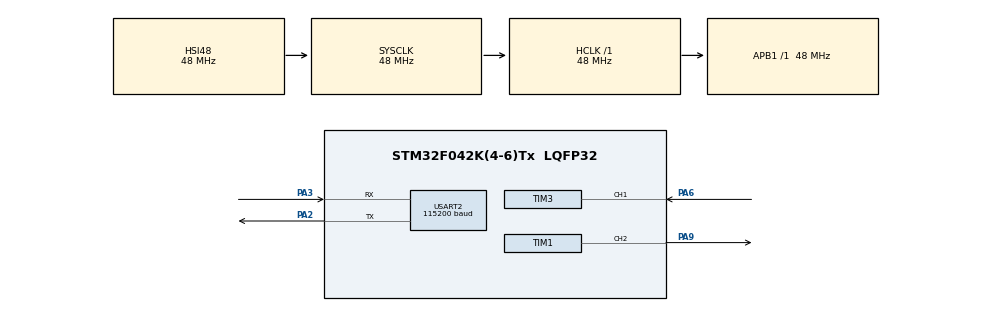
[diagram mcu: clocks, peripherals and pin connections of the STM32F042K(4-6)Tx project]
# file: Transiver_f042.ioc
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Mcu.Family=STM32F0
Mcu.Name=STM32F042K(4-6)Tx
Mcu.Package=LQFP32
NVIC.TIM3_IRQn=true\:0\:0\:false\:false\:true\:true\:true
PA2.Mode=Asynchronous
PA2.Signal=USART2_TX
PA3.Mode=Asynchronous
PA3.Signal=USART2_RX
PA6.Signal=S_TIM3_CH1
PA9.Signal=S_TIM1_CH2
ProjectManager.HeapSize=0x200
ProjectManager.StackSize=0x400
ProjectManager.TargetToolchain=STM32CubeIDE
RCC.AHBFreq_Value=48000000
RCC.APB1Freq_Value=48000000
RCC.APB1TimFreq_Value=48000000
RCC.HCLKFreq_Value=48000000
RCC.SYSCLKFreq_VALUE=48000000
RCC.SYSCLKSource=RCC_SYSCLKSOURCE_HSI48
SH.S_TIM1_CH2.0=TIM1_CH2,PWM Generation2 CH2
SH.S_TIM3_CH1.0=TIM3_CH1,Input_Capture1_from_TI1
TIM1.Channel-PWM\ Generation2\ CH2=TIM_CHANNEL_2
TIM1.Prescaler=1-1
TIM2.Prescaler=6-1
TIM3.Channel-Input_Capture1_from_TI1=TIM_CHANNEL_1
TIM3.Channel-Input_Capture2_from_TI1_63=TIM_CHANNEL_2
TIM3.ICPolarity_CH1=TIM_INPUTCHANNELPOLARITY_FALLING
TIM3.ICPolarity_CH2=TIM_INPUTCHANNELPOLARITY_RISING
TIM3.Prescaler=1-1
USART2.BaudRate=115200
USART2.VirtualMode-Asynchronous=VM_ASYNC
VP_TIM1_VS_ClockSourceINT.Mode=Internal
VP_TIM2_VS_ClockSourceINT.Mode=Internal
VP_TIM3_VS_ClockSourceINT.Mode=Internal
VP_TIM3_VS_indirect_ch1.Mode=Input_Capture2_from_TI1_63
board=custom

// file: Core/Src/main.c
/* USER CODE BEGIN Header */
/**
 ******************************************************************************
 * @file           : main.c
 * @brief          : Main program body
 ******************************************************************************
 * @attention
 *
 * Copyright (c) 2022 STMicroelectronics.
 * All rights reserved.
 *
 * This software is licensed under terms that can be found in the LICENSE file
 * in the root directory of this software component.
 * If no LICENSE file comes with this software, it is provided AS-IS.
 *
 ******************************************************************************
 */
/* USER CODE END Header */
#include "main.h"

/* USER CODE BEGIN Includes */
#include <string.h>
#include <stdlib.h>

/* USER CODE END Includes */

/* USER CODE BEGIN PD */
#define T 5000
#define COUNTER 5000
#define SYN 22
#define ACK 6

/* USER CODE END PD */

TIM_HandleTypeDef htim1;
TIM_HandleTypeDef htim2;
TIM_HandleTypeDef htim3;

UART_HandleTypeDef huart2;

void SystemClock_Config(void);
static void MX_GPIO_Init(void);
static void MX_TIM1_Init(void);
static void MX_TIM2_Init(void);
static void MX_USART2_UART_Init(void);
static void MX_TIM3_Init(void);
/* USER CODE BEGIN PFP */
/*
 * function use to print const strings in UART2
 * make print more coder friendly)
 *
 * @brief  pointer for string
 */
void output(char *string) {
	HAL_UART_Transmit(&huart2, (uint8_t*) string, strlen(string), 100);
}

// This function provides delay (in 1 / Timer_freq nanoseconds)
// delay must be < 65535
void delay(int delay) {
	if (delay > 0xFFFF)
		delay = 0xFFFF;
	(&htim2)->Instance->CNT = 0;
	while ((&htim2)->Instance->CNT < delay)
		;
}

//<------------- TRANSIVER CODE ----------------->

void togglepin(uint8_t value);
void delay(int delay);

/*
 * transfer char to bin code and send it to PWM channel
 *
 * @brief letter which need to transmit
 */
void send_value_pwm(char ch) {
	for (char div = 128; div > 0; div /= 2) {
		if (ch >= div) {    // 1
			ch -= div;
			togglepin(1);
//			output("1");
		} else {
			togglepin(0);
//			output("0");
		}
	}
	delay(T);
}

/*
 * change PWM channel state to transmit 0 or 1 bit value
 *
 * @brief 0 or 1 bit value
 */
void togglepin(uint8_t value) {
	//	turning off pin
	TIM1->CCR2 = 0;
	TIM1->CNT = COUNTER;
	if (value == 1) {
		delay(T * 0.8);
		//	turning on pin
		TIM1->CCR2 = COUNTER + 1;
		TIM1->CNT = COUNTER;
		delay(T * 0.2);
	} else if (value == 0) {
		delay(T * 0.2);
		//	turning on pin
		TIM1->CCR2 = COUNTER + 1;
		TIM1->CNT = COUNTER;
		delay(T * 0.8);
	} else
		return;
}

//<-------------------- END TRANSIVER CODE ----------->

//<-------------------- RECIVER CODE ----------------->
// variables use in triple handshake to catch SYN, ACK from receiver
int byte[2] = { 0 };
int byte_count = 0;

// use in CaptureCallback, PeriodElepsed and other functions
// variables use in receiver code
int callback_count = 0;
int bit_count = 0;
int *bit;

/*
 * SYN -->
 * SYN, ACK <--
 * ACK -->
 *
 * function is made triple handshake work
 * delays need to slow down handshake to make it readable for user
 *
 * firstly stop timers only then turn on overs
 * it is made half-duplex work normally
 *
 * waiting answуrs from receiver in for circle
 */
void connect(int *connection) {
	send_value_pwm(SYN);
	output("First transmission\r\n");
	delay(10 * T); // delays must be same with receiver

	// Turning off transmitter timers
	HAL_TIM_PWM_Stop(&htim1, TIM_CHANNEL_2);

	// Turning on receive timers
	TIM3->ARR = T;
	HAL_TIM_IC_Start_IT(&htim3, TIM_CHANNEL_1);
	HAL_TIM_IC_Start_IT(&htim3, TIM_CHANNEL_2);
	HAL_TIM_Base_Start_IT(&htim3);

	delay(10 * T);

	// wait time for 2 byte -> 20 T
	// to take SYN and ACK from receiver
	for (int i = 0; byte_count < 2 && i < 20; i++) {
		delay(T);
	}

//	char buf[128] = { 0 };
//	sprintf(buf, "%d - byte\r\n", byte_count);
//	HAL_UART_Transmit(&huart2, buf, strlen(buf), -1);

	// Turning off reciver timers
	HAL_TIM_IC_Stop_IT(&htim3, TIM_CHANNEL_1);
	HAL_TIM_IC_Stop_IT(&htim3, TIM_CHANNEL_2);
	HAL_TIM_Base_Stop_IT(&htim3);
	delay(10 * T);

	// Turning on transive timers
	TIM1->CCR2 = COUNTER + 1;
	TIM1->CNT = COUNTER;
	HAL_TIM_PWM_Start(&htim1, TIM_CHANNEL_2);
	delay(10 * T);

	if (byte[0] == SYN && byte[1] == ACK) {
		*connection = 1;
		output("Device connected\r\n");
		send_value_pwm(ACK);
	} else {
		output("Connection was failed\r\n");
		*connection = 0;
	}
	byte_count = 0;
	byte[0] = byte[1] = 0;
	delay(10 * T);
}

/*
 * catch changing state of PWM channel
 * check period of signal to avoid interferences (should write else)
 * write rising times in bit array
 */
void HAL_TIM_IC_CaptureCallback(TIM_HandleTypeDef *htim) {
	if (htim == &htim3) {
		int falling_edge = 0;
		int rising_edge = 0;
//		char buf_1[128] = { 0 };

		callback_count += 1;

		falling_edge = HAL_TIM_ReadCapturedValue(&htim3, TIM_CHANNEL_1);
		rising_edge = HAL_TIM_ReadCapturedValue(&htim3, TIM_CHANNEL_2);
//		sprintf(buf_1, "r - %d f - %d c - %d\r\n", rising_edge, falling_edge, callback_count);
//		HAL_UART_Transmit(&huart2, &buf_1, strlen(buf_1), -1);
		if (callback_count % 2 != 0 && callback_count != 1) {
			int period = rising_edge + falling_edge;
			if (period < T * 1.2 && period > T * 0.8) { // 10% gap for period
//				char buf_2[128] = { 0 };
//				sprintf(buf_2, "r - %d\r\n", rising_edge);
//				HAL_UART_Transmit(&huart2, &buf_2, strlen(buf_2), -1);
				bit[bit_count] = rising_edge;
			}
			bit_count += 1;
		}
		TIM3->CNT = 0;
		TIM2->CNT = 0;
	}
}

void read_pwm_information(int *bit);

/*
 * function catch IDEL signal
 * IDEL signal then there is one period without capture callback
 * Use for reading last bit in signal
 *
 * AND display letter to user by display_pwm_information()
 *
 * 3 types of IDEL
 *
 * IDEL after catching 8 bit
 * function display letter
 *
 * IDEL after less 8 bit
 * function display error message
 *
 * IDEL without catching any bit
 * Timer run function every period with or without information
 * function do nothing in this case
 */
void HAL_TIM_PeriodElapsedCallback(TIM_HandleTypeDef *htim) {
	if (htim == &htim3) { // reading last bite of byte
		if (bit_count == 7 && callback_count > 1) {
//			char buf[64] = { 0 };
//			sprintf(buf, "r - %d\r\n", HAL_TIM_ReadCapturedValue(&htim2, TIM_CHANNEL_2));
//			HAL_UART_Transmit(&huart2, &buf, strlen(buf), -1);

			bit[bit_count] = HAL_TIM_ReadCapturedValue(&htim3, TIM_CHANNEL_2);
			read_pwm_information(bit);

			bit_count = 0;
			callback_count = 0;
//			connect = 1;
		} else if (callback_count > 1 && bit_count < 7) { // when caught less then 8 bit before IDEL give message about lost bytes
			output("#LOST BYTE#");
			if (callback_count % 2 != 0) {
				output("_1_\r\n"); // start_finish_connection
				bit_count = 0;
				callback_count = 0;
//				start_finish_connection();
			} else {
				bit_count = 0;
				callback_count = 0;
			}
		} else if (callback_count == 1) { // turning on/off transiver state of channel change 0V -> 3.3V / 3.3V -> 0V
			output("_2_\r\n"); // start_finish_connection
			bit_count = 0;
			callback_count = 0;
//			start_finish_connection();
		} else
			// TIM run function every period ending
			return;
	}
}

char rises_to_char(int*);

/* function read information from pwm signal
 *
 * receives int array contain 8 rising times
 * convert rising times to char and write it to byte array
 *
 */
void read_pwm_information(int *bit) {
	byte[byte_count] = rises_to_char(bit);
	byte_count += 1;
}

/* function return char from 8 rising times array
 * bit - pointer to 8 rising times array contain 8 bits
 * If rising time more then 50% period then this is a 1, else 0
 */
char rises_to_char(int *bit) {
	char c = 0;
	for (int i = 0, rank = 128; i < 8 && rank > 0; i++, rank /= 2) {
		if (bit[i] > T * 0.5)
			c += rank;
	}
	return c;
}

// <-------------------- END RECIVER CODE ----------->

/* USER CODE END PFP */

int main(void) {

	/* MCU Configuration--------------------------------------------------------*/

	/* Reset of all peripherals, Initializes the Flash interface and the Systick. */
	HAL_Init();

	/* Configure the system clock */
	SystemClock_Config();

	/* Initialize all configured peripherals */
	MX_GPIO_Init();
	MX_TIM1_Init();
	MX_TIM2_Init();
	MX_USART2_UART_Init();
	MX_TIM3_Init();
	/* USER CODE BEGIN 2 */

	// channel state 0V
	TIM1->ARR = COUNTER;
	TIM1->CCR2 = 0;

	// turning on tranciver timer
	HAL_TIM_PWM_Start(&htim1, TIM_CHANNEL_2);

	// turning on timers for delay
	HAL_TIM_Base_Start(&htim2);

	/* USER CODE END 2 */

	/* Infinite loop */
	/* USER CODE BEGIN WHILE */

	char buf[] = "Hello world!\rBetter late than never\r"
			"Hang in there\rMake a long story short\r"
			"Good things come to those who wait\r"
			"\r\nThe machines rose from the ashes of the nuclear fire.\r"
			"Their war to exterminate mankind has raged for decades,\r"
			"but the final battle would not be fought in the future.\r"
			"It would be fought here, in our present. Tonight.\r";
/*			"\rWhen you walk through a storm\r"
			"Hold your head up high\r"
			"And don't be afraid of the dark\r"
			"At the end of a storm\r"
			"There's a golden sky\r"
			"And the sweet silver song of a lark\r"
			"Walk on through the wind\r"
			"Walk on through the rain\r"
			"Though your dreams be tossed and blown\r"
			"Walk on, walk on\r"
			"With hope in your heart\r"
			"And you'll never walk alone\r"
			"You'll never walk alone\r"
			"Walk on, walk on\r"
			"With hope in your heart\r"
			"And you'll never walk alone\r"
			"You'll never walk alone\r"
			"\r\n"
			"Didn't know what time it was, the lights were low\r"
			"I leaned back on my radio\r"
			"Some cat was layin down some rock 'n' roll\r"
			"Lotta soul, he said\r"
			"Then the loud sound did seem to fade\r"
			"Came back like a slow voice on a wave of phase\r"
			"That weren't no DJ, that was hazy cosmic jive\r"
			"\r\rThere's a starman waiting in the sky\r"
			"He'd like to come and meet us\r"
			"But he thinks he'd blow our minds\r"
			"There's a starman waiting in the sky\r"
			"He's told us not to blow it\r"
			"'Cause he knows it's all worthwhile\r"
			"He told me\r"
			"Let the children lose it\r"
			"Let the children use it\r"
			"Let all the children boogie\r"
			"\r\nI had to phone someone so I picked on you\r"
			"Hey, that's far out, so you heard him too\r"
			"Switch on the TV, we may pick him up on channel two\r"
			"Look out your window, I can see his light\r"
			"If we can sparkle he may land tonight\r"
			"Don't tell your poppa or he'll get us locked up in fright\r\r\r"
			"There's a starman waiting in the sky\r"
			"He'd like to come and meet us\rBu"
			"t he thinks he'd blow our minds\r"
			"There's a starman waiting in the sky\r"
			"He's told us not to blow it\r"
			"'Cause he knows it's all worthwhile\r"
			"He told me\rLet the children lose it\r"
			"Let the children use it\r"
			"Let all the children boogie\r\r\r"
			"Starman waiting in the sky\r"
			"He'd like to come and meet us\r"
			"But he thinks he'd blow our minds\r"
			"There's a starman waiting in the sky\r"
			"He's told us not to blow it\r"
			"'Cause he knows it's all worthwhile\r"
			"He told me\r"
			"Let the children lose it\r"
			"Let the children use it\r"
			"Let all the children boogie\r";
*/
	//  Hang in there\rMake a long story short\r
	output("Still work\r\n");
	bit = calloc(8, sizeof(int));
	if (bit == NULL) {
		output("ERROR: memory is over");
		return 1;
	}
	int connection = 0;
	while (1) {

//		 turning on channel
		// channel state 0V -> 3.3V
		TIM1->CCR2 = COUNTER + 1;
		TIM1->CNT = COUNTER;
//		HAL_Delay(1000);
		delay(10 * T);
		// truing connect to receiver until it done
		while (connection != 1) {
			connect(&connection);
			delay(10 * T);
		}

		output("Start transmission\r\n");
//		HAL_Delay(1000);
		delay(10 * T);
		for (int i = 0; i < strlen(buf); i++) {
			send_value_pwm(buf[i]);
		}
		// end of data transmission channel state still 3.3V
//		HAL_Delay(1000);
		delay(10 * T);

		// turning off channel 3.3V -> 0V
		TIM1->CCR2 = 0;
		TIM1->CNT = COUNTER;
		connection = 0;
		HAL_Delay(2000);

		/* USER CODE END WHILE */

	}
}

void SystemClock_Config(void) {
	RCC_OscInitTypeDef RCC_OscInitStruct = { 0 };
	RCC_ClkInitTypeDef RCC_ClkInitStruct = { 0 };

	/** Initializes the RCC Oscillators according to the specified parameters
	 * in the RCC_OscInitTypeDef structure.
	 */
	RCC_OscInitStruct.OscillatorType = RCC_OSCILLATORTYPE_HSI48;
	RCC_OscInitStruct.HSI48State = RCC_HSI48_ON;
	RCC_OscInitStruct.PLL.PLLState = RCC_PLL_NONE;
	if (HAL_RCC_OscConfig(&RCC_OscInitStruct) != HAL_OK) {
		Error_Handler();
	}
	/** Initializes the CPU, AHB and APB buses clocks
	 */
	RCC_ClkInitStruct.ClockType = RCC_CLOCKTYPE_HCLK | RCC_CLOCKTYPE_SYSCLK
			| RCC_CLOCKTYPE_PCLK1;
	RCC_ClkInitStruct.SYSCLKSource = RCC_SYSCLKSOURCE_HSI48;
	RCC_ClkInitStruct.AHBCLKDivider = RCC_SYSCLK_DIV1;
	RCC_ClkInitStruct.APB1CLKDivider = RCC_HCLK_DIV1;

	if (HAL_RCC_ClockConfig(&RCC_ClkInitStruct, FLASH_LATENCY_1) != HAL_OK) {
		Error_Handler();
	}
}

static void MX_TIM1_Init(void) {

	TIM_ClockConfigTypeDef sClockSourceConfig = { 0 };
	TIM_MasterConfigTypeDef sMasterConfig = { 0 };
	TIM_OC_InitTypeDef sConfigOC = { 0 };
	TIM_BreakDeadTimeConfigTypeDef sBreakDeadTimeConfig = { 0 };

	htim1.Instance = TIM1;
	htim1.Init.Prescaler = 12 - 1;
	htim1.Init.CounterMode = TIM_COUNTERMODE_UP;
	htim1.Init.Period = 65535;
	htim1.Init.ClockDivision = TIM_CLOCKDIVISION_DIV1;
	htim1.Init.RepetitionCounter = 0;
	htim1.Init.AutoReloadPreload = TIM_AUTORELOAD_PRELOAD_DISABLE;
	if (HAL_TIM_Base_Init(&htim1) != HAL_OK) {
		Error_Handler();
	}
	sClockSourceConfig.ClockSource = TIM_CLOCKSOURCE_INTERNAL;
	if (HAL_TIM_ConfigClockSource(&htim1, &sClockSourceConfig) != HAL_OK) {
		Error_Handler();
	}
	if (HAL_TIM_PWM_Init(&htim1) != HAL_OK) {
		Error_Handler();
	}
	sMasterConfig.MasterOutputTrigger = TIM_TRGO_RESET;
	sMasterConfig.MasterSlaveMode = TIM_MASTERSLAVEMODE_DISABLE;
	if (HAL_TIMEx_MasterConfigSynchronization(&htim1, &sMasterConfig)
			!= HAL_OK) {
		Error_Handler();
	}
	sConfigOC.OCMode = TIM_OCMODE_PWM1;
	sConfigOC.Pulse = 0;
	sConfigOC.OCPolarity = TIM_OCPOLARITY_HIGH;
	sConfigOC.OCNPolarity = TIM_OCNPOLARITY_HIGH;
	sConfigOC.OCFastMode = TIM_OCFAST_DISABLE;
	sConfigOC.OCIdleState = TIM_OCIDLESTATE_RESET;
	sConfigOC.OCNIdleState = TIM_OCNIDLESTATE_RESET;
	if (HAL_TIM_PWM_ConfigChannel(&htim1, &sConfigOC, TIM_CHANNEL_2)
			!= HAL_OK) {
		Error_Handler();
	}
	sBreakDeadTimeConfig.OffStateRunMode = TIM_OSSR_DISABLE;
	sBreakDeadTimeConfig.OffStateIDLEMode = TIM_OSSI_DISABLE;
	sBreakDeadTimeConfig.LockLevel = TIM_LOCKLEVEL_OFF;
	sBreakDeadTimeConfig.DeadTime = 0;
	sBreakDeadTimeConfig.BreakState = TIM_BREAK_DISABLE;
	sBreakDeadTimeConfig.BreakPolarity = TIM_BREAKPOLARITY_HIGH;
	sBreakDeadTimeConfig.AutomaticOutput = TIM_AUTOMATICOUTPUT_DISABLE;
	if (HAL_TIMEx_ConfigBreakDeadTime(&htim1, &sBreakDeadTimeConfig)
			!= HAL_OK) {
		Error_Handler();
	}
	HAL_TIM_MspPostInit(&htim1);

}

static void MX_TIM2_Init(void) {

	TIM_ClockConfigTypeDef sClockSourceConfig = { 0 };
	TIM_MasterConfigTypeDef sMasterConfig = { 0 };

	htim2.Instance = TIM2;
	htim2.Init.Prescaler = 12 - 1;
	htim2.Init.CounterMode = TIM_COUNTERMODE_UP;
	htim2.Init.Period = 4294967295;
	htim2.Init.ClockDivision = TIM_CLOCKDIVISION_DIV1;
	htim2.Init.AutoReloadPreload = TIM_AUTORELOAD_PRELOAD_DISABLE;
	if (HAL_TIM_Base_Init(&htim2) != HAL_OK) {
		Error_Handler();
	}
	sClockSourceConfig.ClockSource = TIM_CLOCKSOURCE_INTERNAL;
	if (HAL_TIM_ConfigClockSource(&htim2, &sClockSourceConfig) != HAL_OK) {
		Error_Handler();
	}
	sMasterConfig.MasterOutputTrigger = TIM_TRGO_RESET;
	sMasterConfig.MasterSlaveMode = TIM_MASTERSLAVEMODE_DISABLE;
	if (HAL_TIMEx_MasterConfigSynchronization(&htim2, &sMasterConfig)
			!= HAL_OK) {
		Error_Handler();
	}

}

static void MX_TIM3_Init(void) {

	TIM_ClockConfigTypeDef sClockSourceConfig = { 0 };
	TIM_MasterConfigTypeDef sMasterConfig = { 0 };
	TIM_IC_InitTypeDef sConfigIC = { 0 };

	htim3.Instance = TIM3;
	htim3.Init.Prescaler = 12 - 1;
	htim3.Init.CounterMode = TIM_COUNTERMODE_UP;
	htim3.Init.Period = 65535;
	htim3.Init.ClockDivision = TIM_CLOCKDIVISION_DIV1;
	htim3.Init.AutoReloadPreload = TIM_AUTORELOAD_PRELOAD_DISABLE;
	if (HAL_TIM_Base_Init(&htim3) != HAL_OK) {
		Error_Handler();
	}
	sClockSourceConfig.ClockSource = TIM_CLOCKSOURCE_INTERNAL;
	if (HAL_TIM_ConfigClockSource(&htim3, &sClockSourceConfig) != HAL_OK) {
		Error_Handler();
	}
	if (HAL_TIM_IC_Init(&htim3) != HAL_OK) {
		Error_Handler();
	}
	sMasterConfig.MasterOutputTrigger = TIM_TRGO_RESET;
	sMasterConfig.MasterSlaveMode = TIM_MASTERSLAVEMODE_DISABLE;
	if (HAL_TIMEx_MasterConfigSynchronization(&htim3, &sMasterConfig)
			!= HAL_OK) {
		Error_Handler();
	}
	sConfigIC.ICPolarity = TIM_INPUTCHANNELPOLARITY_FALLING;
	sConfigIC.ICSelection = TIM_ICSELECTION_DIRECTTI;
	sConfigIC.ICPrescaler = TIM_ICPSC_DIV1;
	sConfigIC.ICFilter = 0;
	if (HAL_TIM_IC_ConfigChannel(&htim3, &sConfigIC, TIM_CHANNEL_1) != HAL_OK) {
		Error_Handler();
	}
	sConfigIC.ICPolarity = TIM_INPUTCHANNELPOLARITY_RISING;
	sConfigIC.ICSelection = TIM_ICSELECTION_INDIRECTTI;
	if (HAL_TIM_IC_ConfigChannel(&htim3, &sConfigIC, TIM_CHANNEL_2) != HAL_OK) {
		Error_Handler();
	}

}

static void MX_USART2_UART_Init(void) {

	huart2.Instance = USART2;
	huart2.Init.BaudRate = 115200;
	huart2.Init.WordLength = UART_WORDLENGTH_8B;
	huart2.Init.StopBits = UART_STOPBITS_1;
	huart2.Init.Parity = UART_PARITY_NONE;
	huart2.Init.Mode = UART_MODE_TX_RX;
	huart2.Init.HwFlowCtl = UART_HWCONTROL_NONE;
	huart2.Init.OverSampling = UART_OVERSAMPLING_16;
	huart2.Init.OneBitSampling = UART_ONE_BIT_SAMPLE_DISABLE;
	huart2.AdvancedInit.AdvFeatureInit = UART_ADVFEATURE_NO_INIT;
	if (HAL_UART_Init(&huart2) != HAL_OK) {
		Error_Handler();
	}

}

static void MX_GPIO_Init(void) {

	/* GPIO Ports Clock Enable */
	__HAL_RCC_GPIOA_CLK_ENABLE();

}

void Error_Handler(void) {
	__disable_irq();
	while (1) {
	}
}
